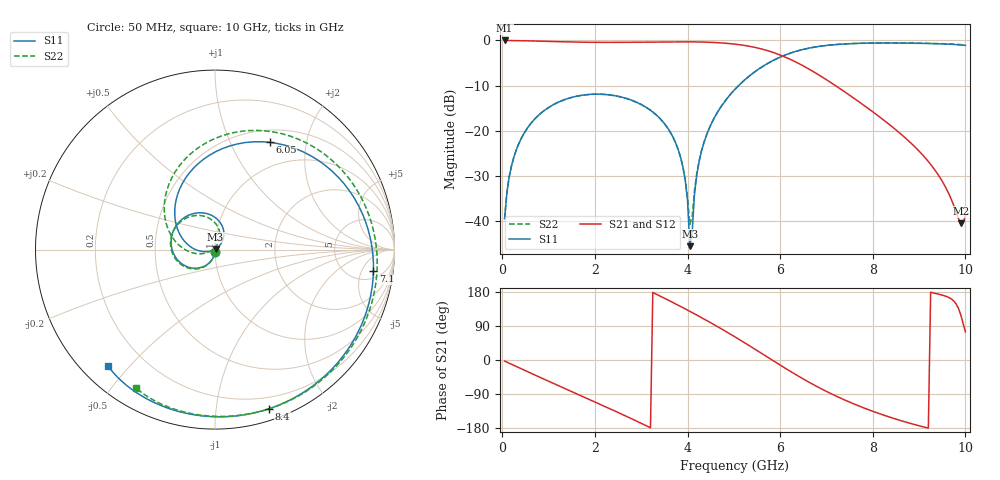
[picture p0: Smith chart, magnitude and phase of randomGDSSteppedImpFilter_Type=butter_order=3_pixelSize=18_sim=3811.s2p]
! freq	dB(S11)	phase(S11)	dB(S12)	phase(S12)
!  dB(S21)	phase(S21)	dB(S22)	phase(S22)
!S-par simulation data
#  GHz  S  DB  R 50
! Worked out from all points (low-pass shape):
!   200 points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, 50 MHz to 10 GHz, reference 50 ohm
!   highest |S21| = -0.01 dB at 50 MHz (marker M1); lowest = -40.5 dB at 9.9 GHz (marker M2)
!   |S21| within 3 dB of the highest: start of sweep to 5.944 GHz
!   lowest |S11| = -45.5 dB at 4.05 GHz (marker M3), VSWR 1.01, Z = 50.3 + j0.412 ohm
!   |S11| at or under -10 dB: start of sweep to 5.102 GHz
!   |S22| runs from -40.7 to -0.5 dB; largest |S21 - S12| = 0
!   S11 on the Smith chart (normalised r, x): 50 MHz: 1.00, -0.02; 6.05 GHz: 0.65, +1.42; 7.1 GHz: 7, -9; 8.4 GHz: 0.10, -1.39; 10 GHz: 0.08, -0.44
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0.05  -39.44 -91.1  -0.01 -2.9  -0.01 -2.9  -39.44 -91.0
0.2  -27.70 -101.5  -0.03 -11.4  -0.03 -11.4  -27.70 -101.0
0.5  -20.05 -119.3  -0.08 -28.2  -0.08 -28.2  -20.05 -118.0
1.15  -13.96 -156.5  -0.26 -64.3  -0.26 -64.3  -13.96 -153.4
1.75  -12.09 169.7  -0.39 -97.1  -0.39 -97.1  -12.10 174.7
2.7  -12.90 115.4  -0.41 -149.8  -0.41 -149.8  -12.92 124.2
3.4  -17.22 73.1  -0.33 169.2  -0.33 169.2  -17.25 86.0
3.9  -27.99 42.8  -0.30 138.1  -0.30 138.1  -27.95 64.3
4  -35.41 39.7  -0.31 131.7  -0.31 131.7  -34.79 72.9
4.05  -45.53 50.6  -0.31 128.4  -0.31 128.4  -40.72 104.5
4.2  -29.75 -163.2  -0.33 118.6  -0.33 118.6  -29.40 -159.9
4.35  -22.77 -171.7  -0.37 108.6  -0.37 108.6  -22.68 -162.2
5.05  -10.54 139.0  -0.85 59.1  -0.85 59.1  -10.55 154.1
5.55  -6.24 101.1  -1.76 21.3  -1.76 21.3  -6.26 117.1
6.05  -3.47 63.0  -3.43 -17.1  -3.43 -17.1  -3.49 78.9
6.7  -1.55 17.0  -6.81 -63.8  -6.81 -63.8  -1.56 31.8
7.1  -1.00 -7.8  -9.36 -89.0  -9.36 -89.0  -1.01 6.3
8.35  -0.57 -69.1  -18.54 -150.1  -18.54 -150.1  -0.55 -57.0
8.4  -0.57 -71.2  -18.95 -152.1  -18.95 -152.1  -0.55 -59.1
9.35  -0.72 -108.1  -28.80 175.9  -28.80 175.9  -0.68 -96.1
9.9  -1.00 -128.8  -40.47 119.0  -40.47 119.0  -0.93 -116.0
10  -1.10 -132.6  -38.82 74.3  -38.82 74.3  -1.03 -119.6
